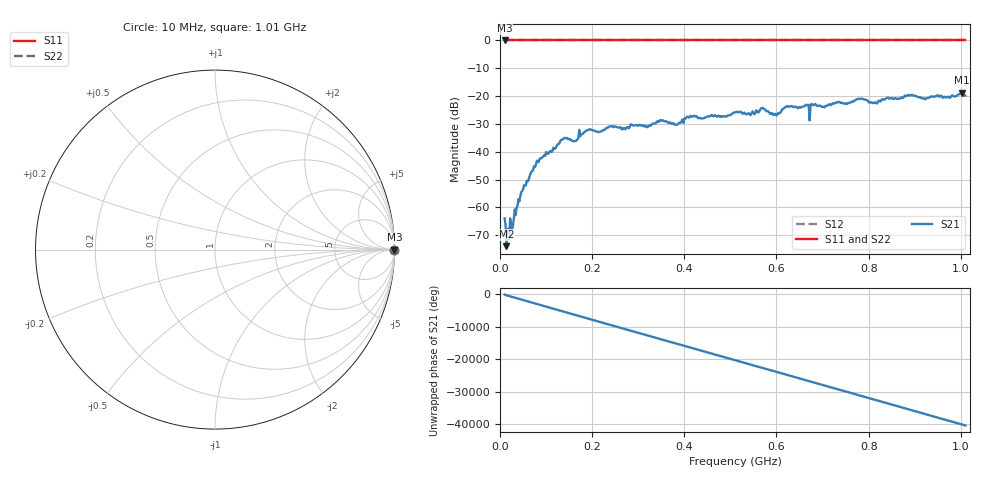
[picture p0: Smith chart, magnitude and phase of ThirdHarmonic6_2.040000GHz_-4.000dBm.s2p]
! 8/17/2025 12:27:54 AM
! C:\ANRITSUVNA\TEMP\TEMP.S2P
! CHANNEL.1
! TR.MEASUREMENT
! RAW.DATA
! RF.CORRECTION.OFF
! AVERAGING.OFF
! IF.BANDWIDTH: 5KHZ
! SWEEPTYPE:  FREQ.SWEEP(Linear)
! Reference Plane Port Info
! PORT:  PORT1  PORT2
! DISTANCE:  0  m  0  m
! TIME:  0  s  0  s
! PHASE.OFFSET:  0  deg.  0  deg.
! LOSS:  0  dB  0  dB
! REF.LOSS:  0  dB  0  dB
! REF.FREQ:  0  Hz  0  Hz
! Power Info
! POWER:  -20  dBm  -20  dBm
! EFF.POWER:  -20  dBm  -20  dBm
! SOURCE.ATTEN:  0  dB  0  dB
! TEST.ATTEN:  0  dB  0  dB
# GHZ S RI R 50.0
! FREQ.GHZ  S11RE  S11IM  S21RE  S21IM  S12RE  S12IM  S22RE  S22IM
!; PortSelection: Port_12
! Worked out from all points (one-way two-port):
!   501 points, 10 MHz to 1.01 GHz, reference 50 ohm
!   highest |S21| = -18.75 dB at 1.002 GHz (marker M1); lowest = -73.9 dB at 14 MHz (marker M2)
!   lowest |S11| = 0.0 dB at 10 MHz (marker M3)
!   |S11| at or under -10 dB: nowhere
!   |S22| runs from 0.0 to 0.0 dB; largest |S21 - S12| = 1.1
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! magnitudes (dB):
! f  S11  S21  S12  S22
! 10 MHz  0.0  -63.9  0.0  0.0
! 14 MHz  0.0  -73.9  0.0  0.0
! 18 MHz  0.0  -67.6  0.0  0.0
! 50 MHz  0.0  -53.5  0.0  0.0
! 84 MHz  0.0  -43.7  0.0  0.0
! 136 MHz  0.0  -35.5  0.0  0.0
! 162 MHz  0.0  -36.2  0.0  0.0
! 178 MHz  0.0  -33.6  0.0  0.0
! 344 MHz  0.0  -29.3  0.0  0.0
! 382 MHz  0.0  -30.3  0.0  0.0
! 410 MHz  0.0  -27.7  0.0  0.0
! 510 MHz  0.0  -25.8  0.0  0.0
! 540 MHz  0.0  -26.1  0.0  0.0
! 570 MHz  0.0  -24.2  0.0  0.0
! 598 MHz  0.0  -26.4  0.0  0.0
! 622 MHz  0.0  -23.7  0.0  0.0
! 678 MHz  0.0  -23.0  0.0  0.0
! 780 MHz  0.0  -21.0  0.0  0.0
! 814 MHz  0.0  -22.2  0.0  0.0
! 844 MHz  0.0  -20.8  0.0  0.0
! 1.002 GHz  0.0  -18.8  0.0  0.0
! 1.01 GHz  0.0  -19.8  0.0  0.0
